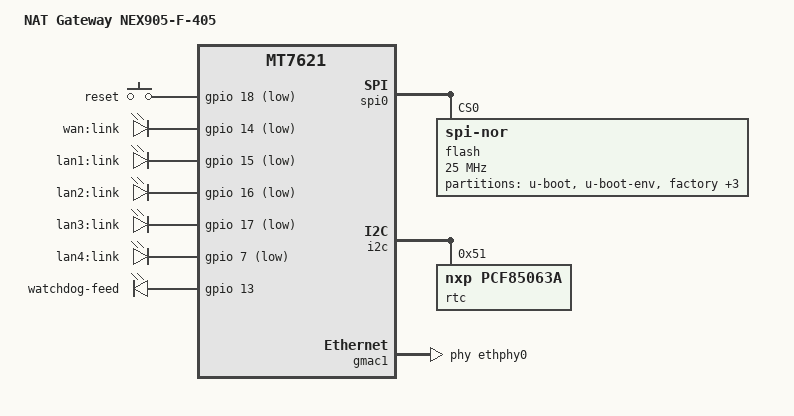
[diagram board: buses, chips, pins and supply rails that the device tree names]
// SPDX-License-Identifier: GPL-2.0-or-later OR MIT

#include <dt-bindings/input/input.h>
#include "mt7621.dtsi"

/ {
	compatible = "nex905,f-405", "mediatek,mt7621-soc";
	model = "NAT Gateway NEX905-F-405";

	aliases {
		label-mac-device = &gmac0;
		led-upgrade = &watchdog_feed;
	};

	chosen {
		bootargs = "console=ttyS0,115200";
	};

	keys {
		compatible = "gpio-keys";

		reset {
			label = "reset";
			gpios = <&gpio 18 GPIO_ACTIVE_LOW>;
			linux,code = <KEY_RESTART>;
		};
	};

	leds {
		compatible = "gpio-leds";

		wan-link {
			label = "wan:link";
			gpios = <&gpio 14 GPIO_ACTIVE_LOW>;
			default-state = "off";
		};

		lan1-link {
			label = "lan1:link";
			gpios = <&gpio 15 GPIO_ACTIVE_LOW>;
			default-state = "off";
		};

		lan2-link {
			label = "lan2:link";
			gpios = <&gpio 16 GPIO_ACTIVE_LOW>;
			default-state = "off";
		};

		lan3-link {
			label = "lan3:link";
			gpios = <&gpio 17 GPIO_ACTIVE_LOW>;
			default-state = "off";
		};

		lan4-link {
			label = "lan4:link";
			gpios = <&gpio 7 GPIO_ACTIVE_LOW>;
			default-state = "off";
		};

		watchdog_feed: watchdog-feed {
			label = "watchdog-feed";
			gpios = <&gpio 13 GPIO_ACTIVE_HIGH>;
			linux,default-trigger = "timer";
			led-pattern = <1000 1000>;
		};
	};
};

&spi0 {
	status = "okay";

	flash@0 {
		compatible = "jedec,spi-nor";
		reg = <0>;
		spi-max-frequency = <25000000>;

		partitions {
			compatible = "fixed-partitions";
			#address-cells = <1>;
			#size-cells = <1>;

			partition@0 {
				label = "u-boot";
				reg = <0x000000 0x030000>;
				read-only;
			};

			partition@30000 {
				label = "u-boot-env";
				reg = <0x030000 0x010000>;
			};

			factory: partition@40000 {
				label = "factory";
				reg = <0x040000 0x010000>;
				read-only;

				nvmem-layout {
					compatible = "fixed-layout";
					#address-cells = <1>;
					#size-cells = <1>;

					macaddr_factory_e000: macaddr@e000 {
						compatible = "mac-base";
						reg = <0xe000 0x6>;
						#nvmem-cell-cells = <1>;
					};
				};
			};

			partition@50000 {
				label = "woem";
				reg = <0x050000 0x010000>;
			};

			partition@60000 {
				label = "ledeinfo";
				reg = <0x060000 0x010000>;
			};

			partition@70000 {
				compatible = "denx,uimage";
				label = "firmware";
				reg = <0x070000 0xf90000>;
			};
		};
	};
};

&i2c {
	status = "okay";

	rtc@51 {
		compatible = "nxp,pcf85063a";
		reg = <0x51>;
	};
};

&gmac0 {
	nvmem-cells = <&macaddr_factory_e000 0>;
	nvmem-cell-names = "mac-address";
};

&gmac1 {
	status = "okay";
	label = "wan";
	phy-handle = <&ethphy0>;

	nvmem-cells = <&macaddr_factory_e000 1>;
	nvmem-cell-names = "mac-address";
};

&ethphy0 {
	mediatek,led0-activity-only;
	/delete-property/ interrupts;
};

&switch0 {
	ports {
		/delete-node/ port@0;

		port@1 {
			status = "okay";
			label = "lan1";
			nvmem-cells = <&macaddr_factory_e000 0>;
			nvmem-cell-names = "mac-address";
		};

		port@2 {
			status = "okay";
			label = "lan2";
			nvmem-cells = <&macaddr_factory_e000 0>;
			nvmem-cell-names = "mac-address";
		};

		port@3 {
			status = "okay";
			label = "lan3";
			nvmem-cells = <&macaddr_factory_e000 0>;
			nvmem-cell-names = "mac-address";
		};

		port@4 {
			status = "okay";
			label = "lan4";
			nvmem-cells = <&macaddr_factory_e000 0>;
			nvmem-cell-names = "mac-address";
		};
	};
};

&state_default {
	gpio {
		groups = "jtag", "uart3", "wdt", "uart2";
		function = "gpio";
	};
};

&ethphy1 {
	mediatek,led0-activity-only;
};

&ethphy2 {
	mediatek,led0-activity-only;
};

&ethphy3 {
	mediatek,led0-activity-only;
};

&ethphy4 {
	mediatek,led0-activity-only;
};
